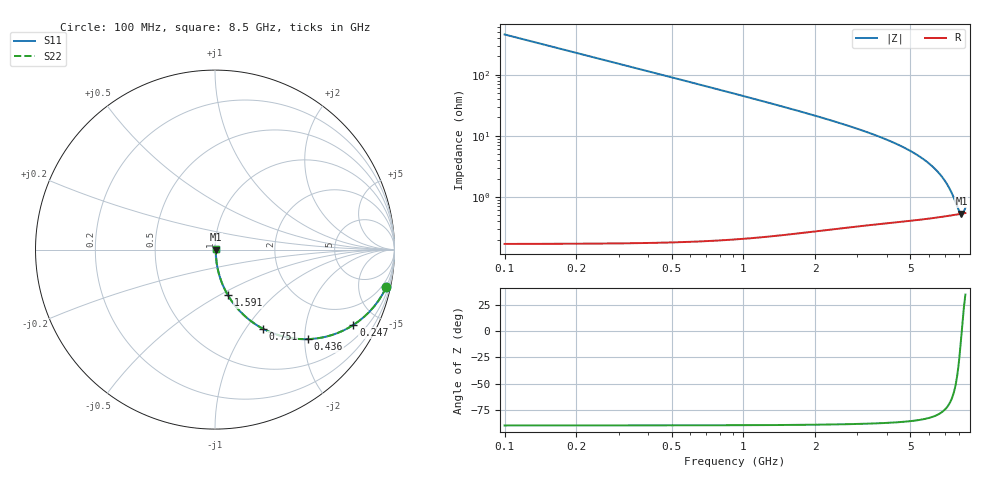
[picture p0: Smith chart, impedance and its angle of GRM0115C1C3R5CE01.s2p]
!Murata Part Number: GRM0115C1C3R5CE01
!These Parameters are Measured in Series Mode Connection
!Data Generated on Mar 30, 2021
!  o--ll--o
!Port1  Port2
!  o------o
!Operation Temp=25[degC], DC Bias Voltage=0[V]
!Freq. Start=100[MHz] Stop=9[GHz] 401[Steps]
# Hz S RI R 50
!Freq.(Hz) S11(Real) S11(Imag) S21(Real) S21(Imag) S12(Real) S12(Imag) S22(Real) S22(Imag)
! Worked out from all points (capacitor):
!   401 points, 100 MHz to 8.5 GHz, reference 50 ohm
!   read as one part in series: C = 3.5 pF near 142 MHz
!   lowest |Z| = 532 mohm at 8.185 GHz (marker M1)
!   series resonance near 8.206 GHz, so ESL is about 110 pH
!   S11 on the Smith chart (normalised r, x): 100 MHz: 1.00, -9.09; 247 MHz: 1.00, -3.68; 436 MHz: 1.00, -2.08; 751 MHz: 1.00, -1.20; 1.591 GHz: 1.00, -0.55; 8.5 GHz: 1.01, +0.01
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1e8  0.9538 -0.2098  0.0462 0.2098  0.0462 0.2098  0.9538 -0.2098
1.84e8  0.859 -0.3477  0.141 0.3477  0.141 0.3477  0.859 -0.3477
2.47e8  0.7716 -0.4193  0.2284 0.4193  0.2284 0.4193  0.7716 -0.4193
3.31e8  0.6526 -0.4755  0.3474 0.4755  0.3474 0.4755  0.6526 -0.4755
4.36e8  0.5194 -0.4988  0.4806 0.4988  0.4806 0.4988  0.5194 -0.4988
5.83e8  0.3758 -0.4832  0.6242 0.4832  0.6242 0.4832  0.3758 -0.4832
7.51e8  0.2652 -0.4399  0.7348 0.4399  0.7348 0.4399  0.2652 -0.4399
1.066e9  0.1503 -0.3549  0.8497 0.3549  0.8497 0.3549  0.1503 -0.3549
1.507e9  0.0797 -0.2667  0.9203 0.2667  0.9203 0.2667  0.0797 -0.2667
1.591e9  0.0718 -0.2537  0.9282 0.2537  0.9282 0.2537  0.0718 -0.2537
2.179e9  0.0384 -0.1849  0.9616 0.1849  0.9616 0.1849  0.0384 -0.1849
2.914e9  0.021 -0.132  0.979 0.132  0.979 0.132  0.021 -0.132
4.3e9  0.00946 -0.0748  0.9905 0.0748  0.9905 0.0748  0.00946 -0.0748
5.707e9  0.00591 -0.0401  0.9941 0.0401  0.9941 0.0401  0.00591 -0.0401
6.505e9  0.00523 -0.0252  0.9948 0.0252  0.9948 0.0252  0.00523 -0.0252
7.114e9  0.00507 -0.0154  0.9949 0.0154  0.9949 0.0154  0.00507 -0.0154
7.471e9  0.00508 -0.0101  0.9949 0.0101  0.9949 0.0101  0.00508 -0.0101
7.975e9  0.0052 -0.00305  0.9948 0.00305  0.9948 0.00305  0.0052 -0.00305
8.08e9  0.00524 -0.00165  0.9948 0.00165  0.9948 0.00165  0.00524 -0.00165
8.185e9  0.00528 -0.000271  0.9947 0.000271  0.9947 0.000271  0.00528 -0.000271
8.311e9  0.00534 0.00136  0.9947 -0.00136  0.9947 -0.00136  0.00534 0.00136
8.5e9  0.00543 0.00375  0.9946 -0.00375  0.9946 -0.00375  0.00543 0.00375
